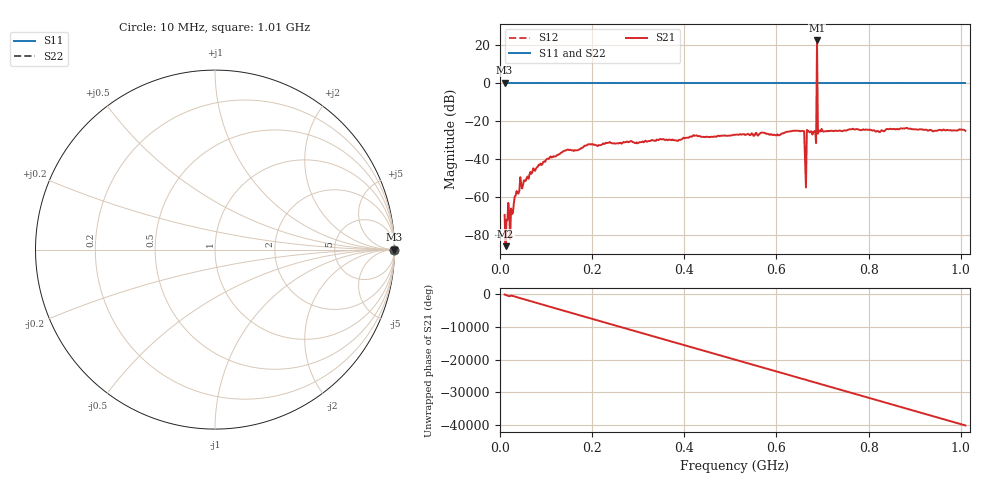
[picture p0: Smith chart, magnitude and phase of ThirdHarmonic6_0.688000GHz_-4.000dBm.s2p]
! 8/15/2025 10:57:36 PM
! C:\ANRITSUVNA\TEMP\TEMP.S2P
! CHANNEL.1
! TR.MEASUREMENT
! RAW.DATA
! RF.CORRECTION.OFF
! AVERAGING.OFF
! IF.BANDWIDTH: 5KHZ
! SWEEPTYPE:  FREQ.SWEEP(Linear)
! Reference Plane Port Info
! PORT:  PORT1  PORT2
! DISTANCE:  0  m  0  m
! TIME:  0  s  0  s
! PHASE.OFFSET:  0  deg.  0  deg.
! LOSS:  0  dB  0  dB
! REF.LOSS:  0  dB  0  dB
! REF.FREQ:  0  Hz  0  Hz
! Power Info
! POWER:  -20  dBm  -20  dBm
! EFF.POWER:  -20  dBm  -20  dBm
! SOURCE.ATTEN:  0  dB  0  dB
! TEST.ATTEN:  0  dB  0  dB
# GHZ S RI R 50.0
! FREQ.GHZ  S11RE  S11IM  S21RE  S21IM  S12RE  S12IM  S22RE  S22IM
!; PortSelection: Port_12
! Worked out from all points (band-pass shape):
!   501 points, 10 MHz to 1.01 GHz, reference 50 ohm
!   highest |S21| = 22.29 dB at 688 MHz (marker M1); lowest = -86.0 dB at 12 MHz (marker M2)
!   |S21| within 3 dB of the highest: 687.8889 MHz to 688.1222 MHz (233.3 kHz wide, 0.0339 % of centre)
!   lowest |S11| = 0.0 dB at 10 MHz (marker M3)
!   |S11| at or under -10 dB: nowhere
!   |S22| runs from 0.0 to 0.0 dB; largest |S21 - S12| = 14
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0.01  1 0  -9.83e-05 -0.00032  1 0  1 0
0.012  1 0  -4.47e-05 2.31e-05  1 0  1 0
0.026  1 0  -0.000256 -0.00024  1 0  1 0
0.034  1 0  9.85e-05 -0.00108  1 0  1 0
0.04  1 0  0.000981 0.000718  1 0  1 0
0.07  1 0  -0.00159 -0.00406  1 0  1 0
0.106  1 0  -0.00699 -0.00704  1 0  1 0
0.178  1 0  -0.0188 -0.00465  1 0  1 0
0.344  1 0  0.0301 -0.007  1 0  1 0
0.51  1 0  -0.0397 0.0161  1 0  1 0
0.656  1 0  0.0373 0.0392  1 0  1 0
0.66  1 0  -0.0239 -0.0476  1 0  1 0
0.666  1 0  0.0574 0.00359  1 0  1 0
0.67  1 0  -0.05 -0.0182  1 0  1 0
0.678  1 0  -0.0203 -0.0384  1 0  1 0
0.682  1 0  0.009 0.0526  1 0  1 0
0.684  1 0  0.0543 0.000983  1 0  1 0
0.688  1 0  -8.716 -9.672  1 0  1 0
0.692  1 0  0.0477 0.0296  1 0  1 0
0.694  1 0  0.0366 -0.0383  1 0  1 0
0.844  1 0  0.0449 0.0398  1 0  1 0
1.01  1 0  -0.0533 -0.0114  1 0  1 0
